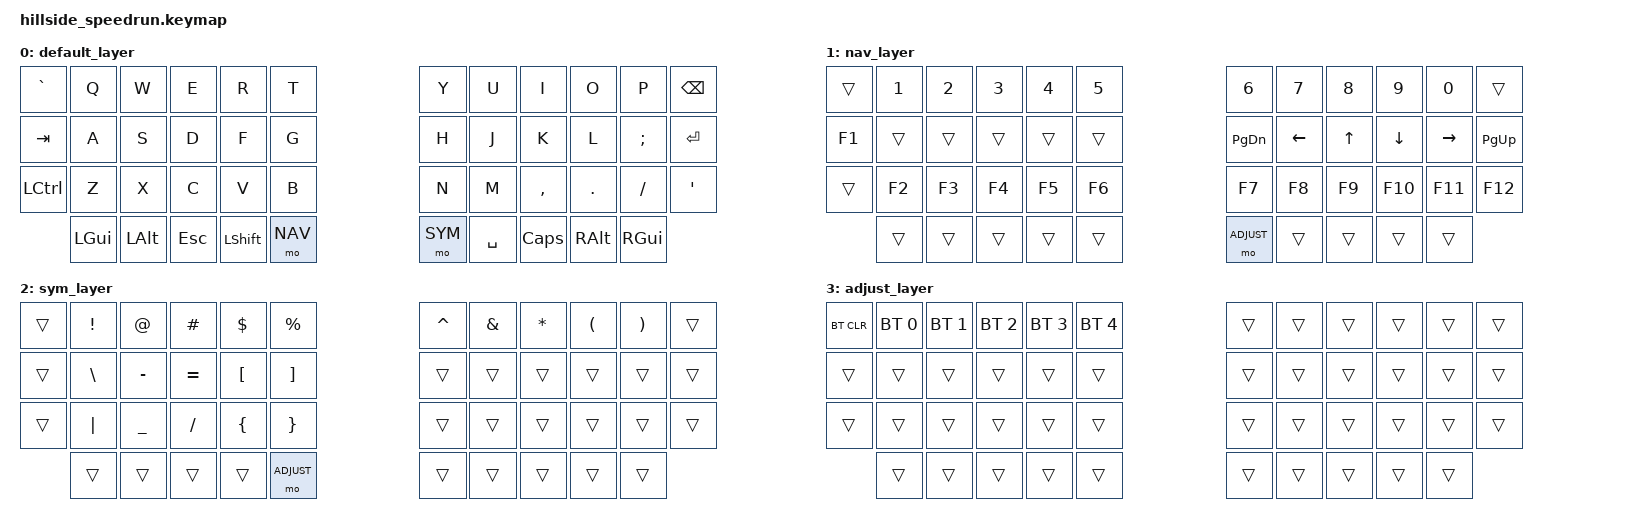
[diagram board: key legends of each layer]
/*
 * Copyright (c) 2020 The ZMK Contributors
 *
 * SPDX-License-Identifier: MIT
 */

 #include <behaviors.dtsi>
 #include <dt-bindings/zmk/keys.h>
 #include <dt-bindings/zmk/bt.h>
 #include <dt-bindings/zmk/rgb.h>
 #include <dt-bindings/zmk/ext_power.h>
 #include <dt-bindings/zmk/outputs.h>

 #define DEFAULT 0
 #define NAV  1
 #define SYM  2
 #define ADJUST 3

/* NOTE: At the time of the creation of this keymap, there are no specified codes for 'eisuu' and 'kana' input in ZMK.
However, 'LANG1' and 'LANG2' are fully-functioning candidates for 'kana' and 'eisuu' input respectively.
As such, those are in use within the default layer at this time.*/

/ {
       keymap {
              compatible = "zmk,keymap";

              default_layer {
 // ---------------------------------------------------------------------------------------------------------------------------------
 // | GRAVE  |    Q   |    W   |    E   |    R   |    T   |---------|   Y    |   U    |    I   |    O   |    P   |  BPSC  |
 // |   TAB  |    A   |    S   |    D   |    F   |    G   |---------|   H    |   J    |    K   |    L   |    ;   |   RET  |  
 // |  CTRL  |    Z   |    X   |    C   |    V   |    B   |---------|   N    |   M    |    ,   |    .   |    /   |   '    |
 //          |  LWIN  |  LALT  |   ESC  |  SHIFT |   NAV  |---------|  SYM   |  SPACE |  CAPS  |  RALT  |  RWIN  |

                         bindings = <
       &kp GRAVE  &kp Q          &kp W    &kp E    &kp R     &kp T                               &kp Y      &kp U     &kp I      &kp O      &kp P     &kp BSPC 
       &kp TAB    &kp A          &kp S    &kp D    &kp F     &kp G                               &kp H      &kp J     &kp K      &kp L      &kp SEMI  &kp RET 
       &kp LCTRL  &kp Z          &kp X    &kp C    &kp V     &kp B                               &kp N      &kp M     &kp COMMA  &kp  DOT   &kp FSLH  &kp  SQT
                  &kp LGUI       &kp LALT &kp ESC  &kp LSHFT &mo NAV                             &mo SYM    &kp SPACE &kp CAPS   &kp RALT   &kp RGUI  
                     >;
              };
                  nav_layer {
 // ---------------------------------------------------------------------------------------------------------------------------------
 // |        |    1   |    2   |    3   |    4   |    5   |---------|   6    |   7    |    8   |    9   |    0   |  BPSC  |
 // |   F1   |        |        |        |        |        |---------|  PG DN |  LEFT  |    UP  |   DOWN |  RIGHT |  PG UP |  
 // |        |    F2  |    F3  |    F4  |    F5  |    F6  |---------|   F7   |   F8   |    F9  |   F10  |   F11  |   F12  |
 //          |  LWIN  |  LALT  |   ESC  |  SHIFT |   NAV  |---------| ADJUST |  SPACE |  CAPS  |  RALT  |  RWIN  |

                         bindings = <
       &trans     &kp N1         &kp N2   &kp N3   &kp N4    &kp N5                              &kp N6     &kp N7    &kp N8     &kp N9     &kp N0    &trans 
       &kp F1     &trans         &trans   &trans   &trans    &trans                              &kp PG_DN  &kp LEFT  &kp UP     &kp DOWN   &kp RIGHT &kp PG_UP
       &trans     &kp F2         &kp F3   &kp F4   &kp F5    &kp F6                              &kp F7     &kp F8    &kp F9     &kp F10    &kp F11   &kp F12
                  &trans         &trans   &trans   &trans    &trans                              &mo ADJUST &trans    &trans     &trans     &trans  
                     >;
              };
                sym_layer {
 // ---------------------------------------------------------------------------------------------------------------------------------
 // |        |    !   |    @   |    #   |    $   |    %   |---------|   ^    |   &    |    *   |    (   |    )   |        |
 // |        |    \   |    -   |    =   |    [   |    ]   |---------|        |        |        |        |        |        |  
 // |        |    |   |    _   |    /   |    {   |    }   |---------|        |        |        |        |        |        |
 //          |  LWIN  |  LALT  |   ESC  |  SHIFT |   NAV  |---------| ADJUST |  SPACE |  CAPS  |  RALT  |  RWIN  |

                         bindings = <
       &trans     &kp EXCL       &kp AT      &kp HASH     &kp DLLR    &kp PRCNT                             &kp CARET   &kp AMPS  &kp STAR   &kp LPAR   &kp RPAR  &trans 
       &trans     &kp BSLH       &kp MINUS   &kp EQUAL    &kp LBKT    &kp RBKT                              &trans      &trans    &trans     &trans     &trans    &trans
       &trans     &kp PIPE       &kp UNDER   &kp  SLASH   &kp LBRC    &kp RBRC                              &trans      &trans    &trans     &trans     &trans    &trans
                  &trans         &trans      &trans       &trans      &mo ADJUST                            &trans      &trans    &trans     &trans     &trans  
                     >;
              };
              adjust_layer {
 // ---------------------------------------------------------------------------------------------------------------------------------
 // |        |    !   |    @   |    #   |    $   |    %   |---------|   ^    |   &    |    *   |    (   |    )   |        |
 // |        |    \   |    -   |    =   |    [   |    ]   |---------|        |        |        |        |        |        |  
 // |        |    |   |    _   |    /   |    {   |    }   |---------|        |        |        |        |        |        |
 //          |  LWIN  |  LALT  |   ESC  |  SHIFT |   NAV  |---------| ADJUST |  SPACE |  CAPS  |  RALT  |  RWIN  |

                         bindings = <
       &bt BT_CLR     &bt BT_SEL 0       &bt BT_SEL 1      &bt BT_SEL 2      &bt BT_SEL 3     &bt BT_SEL 4                            &trans      &trans    &trans      &trans     &trans    &trans 
       &trans     &trans       &trans     &trans    &trans    &trans                              &trans      &trans    &trans      &trans     &trans    &trans
       &trans     &trans       &trans     &trans   &trans    &trans                               &trans      &trans    &trans      &trans     &trans    &trans
                  &trans       &trans     &trans       &trans      &trans                                     &trans    &trans      &trans     &trans    &trans  
                     >;
              };
       };
};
